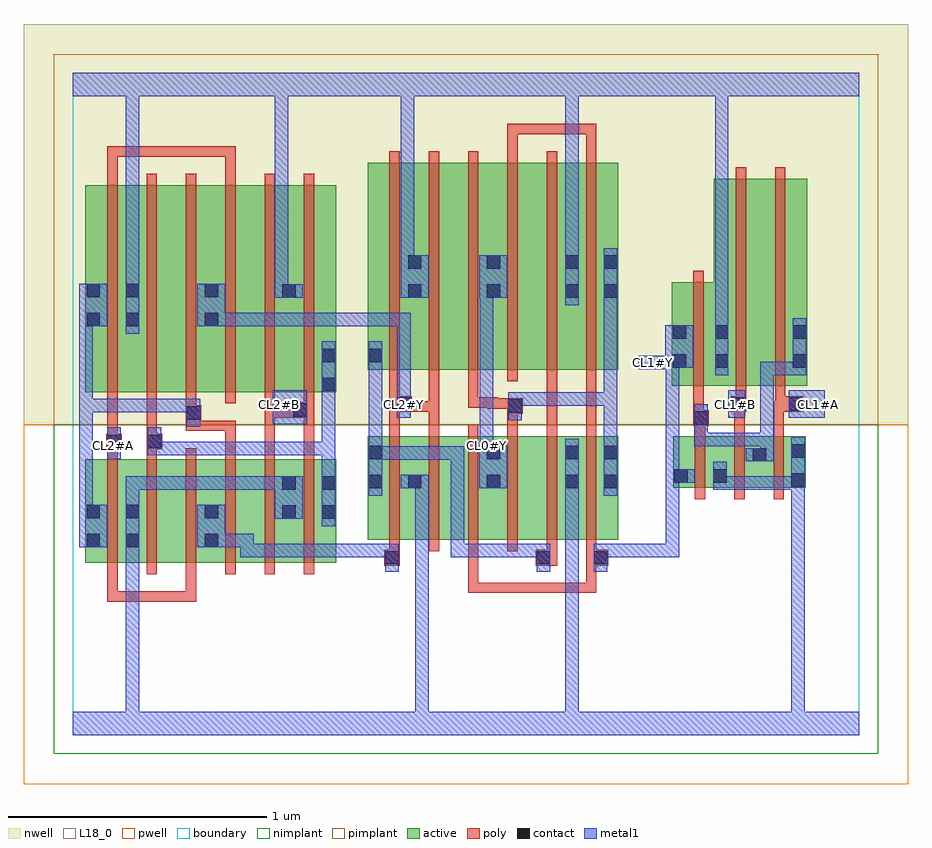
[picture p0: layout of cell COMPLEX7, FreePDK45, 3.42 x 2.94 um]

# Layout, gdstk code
import gdstk
lib = gdstk.Library(unit=1e-6, precision=1e-09)
def R(c, l, rs):  # rectangles x0, y0, x1, y1
    for r in rs: c.add(gdstk.rectangle(r[:2], r[2:], *l))
def A(c, l, x, y, w, h, nx, ny, dx, dy):  # array of equal rectangles
    R(c, l, [(x+i*dx, y+j*dy, x+i*dx+w, y+j*dy+h) for i in range(nx) for j in range(ny)])
active = (1, 0)
pwell = (2, 0)
nwell = (3, 0)
nimplant = (4, 0)
pimplant = (5, 0)
poly = (9, 0)
contact = (10, 0)
metal1 = (11, 0)
L18_0 = (18, 0)
boundary = (235, 0)

complex7 = lib.new_cell('COMPLEX7')
A(complex7, active, 1.292, 0.756, 0.06, 0.4, 3, 1, 0.304, 0)
A(complex7, active, 2.32, 0.956, 0.06, 0.2, 3, 1, 0.152, 0)
R(complex7, active, [(0.05,0.666,0.262,1.066), (0.202,0.666,0.382,1.066), (0.202,0.666,0.262,0.894), (0.382,0.666,0.566,1.066), (0.506,0.666,0.686,1.066), (0.686,0.666,0.866,1.066), (0.806,0.666,1.018,1.066), (0.05,0.722,0.11,1.066), (0.506,0.722,0.566,0.894), (0.806,0.756,0.866,1.004), (0.958,0.756,1.018,1.066), (1.14,0.756,1.2,1.156), (1.14,0.756,1.352,1.156), (1.292,0.756,1.472,1.156), (1.472,0.756,1.656,1.156), (1.596,0.756,1.776,1.156), (1.776,0.756,1.96,1.156), (1.9,0.756,2.108,1.156), (2.048,0.756,2.108,1.156), (2.32,0.956,2.532,1.156), (2.472,0.956,2.684,1.156), (2.624,0.956,2.832,1.156), (2.772,0.956,2.832,1.156), (0.05,1.326,0.262,2.126), (0.05,1.326,0.11,2.044), (0.202,1.326,0.382,2.126), (0.382,1.326,0.566,2.126), (0.506,1.326,0.686,2.126), (0.686,1.326,0.866,2.126), (0.806,1.326,1.018,2.126), (0.958,1.326,1.018,2.044), (2.314,1.35,2.374,1.644), (2.314,1.35,2.538,1.75), (2.478,1.35,2.658,2.15), (2.478,1.35,2.538,1.644), (2.658,1.35,2.838,2.15), (2.778,1.35,2.838,2.044), (1.14,1.412,1.2,2.044), (1.14,1.412,1.352,2.212), (1.292,1.412,1.472,2.212), (1.472,1.412,1.656,2.212), (1.596,1.412,1.776,2.212), (1.596,1.412,1.656,2.044), (1.776,1.412,1.96,2.212), (1.9,1.412,2.108,2.212), (2.048,1.412,2.108,2.044), (0.202,1.576,0.262,2.044), (0.506,1.576,0.566,2.044), (1.9,1.65,1.96,2.044), (0.806,1.686,0.866,2.044), (1.292,1.686,1.352,2.044)])
R(complex7, pwell, [(-0.188,-0.188,3.228,1.2)])
R(complex7, nwell, [(-0.188,1.2,3.228,2.748)])
R(complex7, nimplant, [(-0.072,-0.072,3.112,1.2)])
R(complex7, pimplant, [(-0.072,1.2,3.112,2.632)])
A(complex7, poly, 0.134, 0.622, 0.04, 0.488, 6, 1, 0.152, 0)
A(complex7, poly, 1.224, 0.712, 0.04, 0.488, 6, 1, 0.152, 0)
A(complex7, poly, 2.404, 0.912, 0.04, 0.288, 3, 1, 0.152, 0)
A(complex7, poly, 0.134, 1.282, 0.04, 0.888, 6, 1, 0.152, 0)
A(complex7, poly, 1.224, 1.368, 0.04, 0.888, 6, 1, 0.152, 0)
R(complex7, poly, [(0.134,0.516,0.174,0.556), (0.134,0.516,0.174,0.662), (0.134,0.516,0.28,0.556), (0.24,0.516,0.28,0.556), (0.24,0.516,0.28,0.556), (0.24,0.516,0.28,0.556), (0.24,0.516,0.478,0.556), (0.438,0.516,0.478,0.556), (0.438,0.516,0.478,0.556), (0.438,0.516,0.478,0.556), (0.438,0.516,0.478,0.662), (1.528,0.55,1.568,0.59), (1.528,0.55,1.568,0.59), (1.528,0.55,1.568,0.59), (1.528,0.55,1.724,0.59), (1.528,0.55,1.568,0.752), (1.684,0.55,1.724,0.59), (1.684,0.55,1.724,0.59), (1.684,0.55,1.724,0.59), (1.684,0.55,1.856,0.59), (1.816,0.55,1.856,0.59), (1.816,0.55,1.856,0.59), (1.816,0.55,1.856,0.59), (1.816,0.55,2.024,0.59), (1.984,0.55,2.024,0.59), (1.984,0.55,2.024,0.59), (1.984,0.55,2.024,0.59), (1.984,0.55,2.024,0.696), (1.204,0.656,1.264,0.716), (1.79,0.656,1.872,0.716), (1.984,0.656,2.07,0.716), (1.224,0.676,1.264,0.752), (1.832,0.676,1.872,0.752), (1.984,0.676,2.024,0.752), (0.134,1.07,0.174,1.146), (0.286,1.07,0.326,1.146), (0.59,1.07,0.63,1.216), (0.742,1.07,0.782,1.266), (0.894,1.07,0.934,1.266), (0.13,1.106,0.19,1.166), (0.286,1.106,0.346,1.166), (0.134,1.126,0.174,1.166), (0.134,1.126,0.174,1.166), (0.134,1.126,0.174,1.322), (0.286,1.126,0.326,1.166), (0.286,1.126,0.326,1.166), (0.286,1.126,0.326,1.322), (1.224,1.16,1.264,1.29), (1.376,1.16,1.416,1.29), (1.68,1.16,1.72,1.282), (1.832,1.16,1.872,1.236), (1.984,1.16,2.024,1.372), (2.404,1.16,2.444,1.236), (2.556,1.16,2.596,1.29), (2.708,1.16,2.748,1.29), (0.438,1.176,0.498,1.276), (0.458,1.176,0.63,1.216), (0.59,1.176,0.63,1.216), (0.59,1.176,0.63,1.216), (0.59,1.176,0.63,1.216), (0.59,1.176,0.63,1.216), (0.59,1.176,0.63,1.216), (1.832,1.196,1.872,1.236), (1.832,1.196,1.872,1.236), (1.832,1.196,1.872,1.236), (1.832,1.196,1.872,1.408), (2.398,1.196,2.458,1.256), (2.398,1.216,2.438,1.256), (2.398,1.216,2.438,1.256), (2.398,1.216,2.438,1.346), (0.742,1.226,0.782,1.266), (0.742,1.226,0.782,1.266), (0.742,1.226,0.782,1.266), (0.742,1.226,0.782,1.266), (0.742,1.226,0.782,1.266), (0.742,1.226,0.934,1.266), (0.742,1.226,0.782,1.322), (0.848,1.226,0.934,1.286), (0.894,1.226,0.934,1.266), (0.894,1.226,0.934,1.266), (0.438,1.236,0.478,1.322), (1.68,1.242,1.74,1.302), (0.894,1.246,0.934,1.322), (1.224,1.25,1.264,1.29), (1.224,1.25,1.264,1.29), (1.224,1.25,1.264,1.29), (1.224,1.25,1.264,1.29), (1.224,1.25,1.31,1.31), (1.224,1.25,1.416,1.29), (1.376,1.25,1.416,1.29), (1.376,1.25,1.416,1.29), (1.376,1.25,1.416,1.29), (1.376,1.25,1.416,1.408), (2.542,1.25,2.602,1.31), (2.556,1.25,2.596,1.29), (2.556,1.25,2.596,1.29), (2.708,1.25,2.754,1.29), (2.714,1.25,2.754,1.29), (2.714,1.25,2.822,1.31), (1.604,1.262,1.72,1.302), (1.604,1.262,1.644,1.306), (1.528,1.266,1.568,1.306), (1.528,1.266,1.568,1.306), (1.528,1.266,1.568,1.306), (1.528,1.266,1.644,1.306), (1.528,1.266,1.568,1.408), (1.224,1.27,1.264,1.408), (2.562,1.27,2.602,1.346), (2.714,1.27,2.754,1.346), (2.398,1.306,2.438,1.794), (2.562,1.306,2.602,2.194), (2.714,1.306,2.754,2.194), (1.984,1.332,2.024,1.408), (1.984,1.332,2.024,1.372), (1.984,1.332,2.024,1.372), (1.984,1.332,2.024,1.372), (0.134,2.13,0.174,2.276), (0.59,2.13,0.63,2.276), (1.68,2.216,1.72,2.362), (1.984,2.216,2.024,2.362), (0.134,2.236,0.174,2.276), (0.134,2.236,0.174,2.276), (0.134,2.236,0.174,2.276), (0.134,2.236,0.356,2.276), (0.316,2.236,0.356,2.276), (0.316,2.236,0.462,2.276), (0.422,2.236,0.462,2.276), (0.422,2.236,0.462,2.276), (0.422,2.236,0.462,2.276), (0.422,2.236,0.63,2.276), (0.59,2.236,0.63,2.276), (0.59,2.236,0.63,2.276), (0.59,2.236,0.63,2.276), (1.68,2.322,1.72,2.362), (1.68,2.322,1.83,2.362), (1.79,2.322,1.83,2.362), (1.79,2.322,1.83,2.362), (1.79,2.322,1.83,2.362), (1.79,2.322,2.024,2.362), (1.984,2.322,2.024,2.362), (1.984,2.322,2.024,2.362), (1.984,2.322,2.024,2.362)])
A(complex7, contact, 1.296, 0.954, 0.052, 0.052, 3, 2, 0.304, 0.736)
A(complex7, contact, 1.296, 1.802, 0.052, 0.052, 3, 1, 0.304, 0)
R(complex7, contact, [(1.208,0.66,1.26,0.712), (1.794,0.66,1.846,0.712), (2.014,0.66,2.066,0.712), (0.054,0.726,0.106,0.778), (0.206,0.726,0.258,0.778), (0.51,0.726,0.562,0.778), (0.81,0.836,0.862,0.888), (0.962,0.836,1.014,0.888), (0.054,0.838,0.106,0.89), (0.206,0.838,0.258,0.89), (0.51,0.838,0.562,0.89), (0.81,0.948,0.862,1), (0.962,0.948,1.014,1), (1.144,0.954,1.196,1.006), (2.052,0.954,2.104,1.006), (2.776,0.96,2.828,1.012), (2.324,0.976,2.376,1.028), (2.476,0.976,2.528,1.028), (2.628,1.058,2.68,1.11), (1.144,1.066,1.196,1.118), (1.6,1.066,1.652,1.118), (1.904,1.066,1.956,1.118), (2.052,1.066,2.104,1.118), (2.776,1.072,2.828,1.124), (0.134,1.11,0.186,1.162), (0.29,1.11,0.342,1.162), (2.402,1.2,2.454,1.252), (0.442,1.22,0.494,1.272), (0.852,1.23,0.904,1.282), (1.684,1.246,1.736,1.298), (1.254,1.254,1.306,1.306), (2.546,1.254,2.598,1.306), (2.766,1.254,2.818,1.306), (0.962,1.33,1.014,1.382), (2.318,1.42,2.37,1.472), (2.482,1.42,2.534,1.472), (2.782,1.42,2.834,1.472), (0.962,1.442,1.014,1.494), (1.144,1.442,1.196,1.494), (2.318,1.532,2.37,1.584), (2.482,1.532,2.534,1.584), (2.782,1.532,2.834,1.584), (0.054,1.58,0.106,1.632), (0.206,1.58,0.258,1.632), (0.51,1.58,0.562,1.632), (0.81,1.69,0.862,1.742), (2.052,1.69,2.104,1.742), (0.054,1.692,0.106,1.744), (0.206,1.692,0.258,1.744), (0.51,1.692,0.562,1.744), (2.052,1.802,2.104,1.854)])
R(complex7, metal1, [(0,0,3.04,0.092), (0.206,0.04,0.258,0.092), (0.206,0.04,0.258,0.092), (0.206,0.04,0.258,0.092), (0.206,0.04,0.258,0.092), (0.206,0.04,0.258,0.092), (0.206,0.04,0.258,0.092), (0.206,0.04,0.258,0.092), (0.206,0.04,0.258,0.092), (0.206,0.04,0.258,0.75), (1.324,0.04,1.376,0.092), (1.324,0.04,1.376,0.092), (1.324,0.04,1.376,0.092), (1.324,0.04,1.376,0.092), (1.324,0.04,1.376,0.092), (1.324,0.04,1.376,0.092), (1.324,0.04,1.376,0.092), (1.324,0.04,1.376,0.092), (1.324,0.04,1.376,0.092), (1.324,0.04,1.376,0.092), (1.324,0.04,1.376,1.006), (1.904,0.04,1.956,0.092), (1.904,0.04,1.956,0.092), (1.904,0.04,1.956,0.092), (1.904,0.04,1.956,0.092), (1.904,0.04,1.956,0.092), (1.904,0.04,1.956,0.092), (1.904,0.04,1.956,0.978), (2.776,0.04,2.828,0.984), (1.208,0.632,1.26,0.74), (1.794,0.632,1.846,0.74), (2.014,0.632,2.066,0.74), (0.648,0.688,0.7,0.74), (0.648,0.688,0.7,0.74), (0.648,0.688,0.7,0.74), (0.648,0.688,0.826,0.74), (0.648,0.688,0.7,0.778), (0.774,0.688,0.826,0.74), (0.774,0.688,0.826,0.74), (0.774,0.688,0.826,0.74), (0.774,0.688,1.15,0.74), (1.098,0.688,1.15,0.74), (1.098,0.688,1.15,0.74), (1.098,0.688,1.15,0.74), (1.098,0.688,1.26,0.74), (1.462,0.688,1.514,0.74), (1.462,0.688,1.626,0.74), (1.462,0.688,1.514,1.116), (1.574,0.688,1.626,0.74), (1.574,0.688,1.626,0.74), (1.574,0.688,1.626,0.74), (1.574,0.688,1.736,0.74), (1.684,0.688,1.736,0.74), (1.684,0.688,1.736,0.74), (1.684,0.688,1.736,0.74), (1.684,0.688,1.736,0.74), (1.684,0.688,1.736,0.74), (1.684,0.688,1.736,0.74), (1.684,0.688,1.736,0.74), (1.684,0.688,1.736,0.74), (1.684,0.688,1.736,0.74), (1.684,0.688,1.846,0.74), (2.014,0.688,2.344,0.74), (2.292,0.688,2.344,0.74), (2.292,0.688,2.344,0.74), (2.292,0.688,2.344,0.74), (2.292,0.688,2.344,0.74), (2.292,0.688,2.344,0.74), (2.292,0.688,2.344,0.74), (2.292,0.688,2.344,0.74), (2.292,0.688,2.344,0.74), (2.292,0.688,2.344,0.74), (2.292,0.688,2.344,1.028), (0.206,0.698,0.258,0.75), (0.206,0.698,0.258,0.75), (0.206,0.698,0.258,0.75), (0.206,0.698,0.258,0.75), (0.206,0.698,0.258,0.918), (0.026,0.726,0.134,0.89), (0.482,0.726,0.59,0.89), (0.538,0.726,0.59,0.778), (0.538,0.726,0.59,0.778), (0.538,0.726,0.7,0.778), (0.648,0.726,0.7,0.778), (0.962,0.808,1.014,1.028), (0.782,0.836,0.89,1), (0.026,0.838,0.078,1.3), (0.206,0.866,0.258,1), (1.144,0.926,1.196,1.146), (1.904,0.926,1.956,0.978), (1.904,0.926,1.956,0.978), (1.904,0.926,1.956,0.978), (1.904,0.926,1.956,0.978), (1.904,0.926,1.956,0.978), (1.904,0.926,1.956,0.978), (1.904,0.926,1.956,1.146), (2.052,0.926,2.104,1.146), (2.776,0.932,2.828,0.984), (2.776,0.932,2.828,0.984), (2.776,0.932,2.828,0.984), (2.776,0.932,2.828,0.984), (2.776,0.932,2.828,0.984), (2.776,0.932,2.828,0.984), (2.776,0.932,2.828,0.984), (2.776,0.932,2.828,0.984), (2.776,0.932,2.828,0.984), (2.776,0.932,2.828,0.984), (2.776,0.932,2.828,0.984), (2.776,0.932,2.828,0.984), (2.776,0.932,2.828,0.984), (2.776,0.932,2.828,0.984), (2.776,0.932,2.828,0.984), (2.776,0.932,2.828,0.984), (2.776,0.932,2.828,1.152), (0.206,0.948,0.258,1), (0.206,0.948,0.258,1), (0.206,0.948,0.258,1), (0.206,0.948,0.258,1), (0.206,0.948,0.258,1), (0.206,0.948,0.258,1), (0.206,0.948,0.258,1), (0.206,0.948,0.424,1), (0.372,0.948,0.424,1), (0.372,0.948,0.452,1), (0.4,0.948,0.452,1), (0.4,0.948,0.534,1), (0.482,0.948,0.534,1), (0.482,0.948,0.59,1), (0.538,0.948,0.59,1), (0.538,0.948,0.716,1), (0.664,0.948,0.716,1), (0.664,0.948,0.716,1), (0.664,0.948,0.716,1), (0.664,0.948,0.834,1), (2.476,0.948,2.708,1), (2.476,0.948,2.528,1.056), (2.656,0.948,2.708,1), (2.656,0.948,2.708,1), (2.656,0.948,2.708,1), (2.656,0.948,2.828,1), (2.776,0.948,2.828,1), (2.776,0.948,2.828,1), (1.268,0.954,1.376,1.006), (1.324,0.954,1.376,1.006), (1.324,0.954,1.376,1.006), (1.572,0.954,1.68,1.118), (0.962,0.976,1.014,1.134), (2.292,0.976,2.344,1.466), (2.292,0.976,2.404,1.028), (2.6,1.058,2.708,1.11), (2.656,1.058,2.708,1.168), (1.144,1.064,1.334,1.116), (1.282,1.064,1.334,1.116), (1.282,1.064,1.334,1.116), (1.282,1.064,1.334,1.116), (1.282,1.064,1.514,1.116), (1.462,1.064,1.514,1.116), (1.462,1.064,1.514,1.116), (1.462,1.064,1.514,1.116), (0.134,1.066,0.186,1.19), (1.574,1.066,1.626,1.118), (1.574,1.066,1.626,1.174), (0.29,1.082,0.342,1.19), (0.29,1.082,0.368,1.134), (0.316,1.082,0.368,1.134), (0.316,1.082,0.48,1.134), (0.428,1.082,0.48,1.134), (0.428,1.082,0.59,1.134), (0.538,1.082,0.59,1.134), (0.538,1.082,0.59,1.134), (0.538,1.082,0.59,1.134), (0.538,1.082,0.716,1.134), (0.664,1.082,0.716,1.134), (0.664,1.082,0.716,1.134), (0.664,1.082,0.716,1.134), (0.664,1.082,0.904,1.134), (0.852,1.082,0.904,1.134), (0.852,1.082,1.014,1.134), (0.962,1.082,1.014,1.134), (0.962,1.082,1.014,1.134), (0.962,1.082,1.014,1.134), (0.962,1.082,1.014,1.134), (0.962,1.082,1.014,1.134), (0.962,1.082,1.014,1.354), (1.144,1.094,1.196,1.466), (2.052,1.094,2.104,1.326), (2.402,1.116,2.708,1.168), (2.402,1.116,2.454,1.224), (2.656,1.116,2.708,1.168), (2.656,1.116,2.708,1.168), (2.656,1.116,2.708,1.168), (2.656,1.116,2.708,1.444), (1.574,1.122,1.626,1.742), (2.402,1.172,2.454,1.224), (2.402,1.172,2.454,1.28), (0.442,1.192,0.494,1.3), (0.774,1.202,0.904,1.334), (1.684,1.218,1.736,1.326), (1.254,1.226,1.306,1.334), (2.534,1.226,2.598,1.334), (2.766,1.226,2.906,1.334), (0.026,1.248,0.078,1.3), (0.026,1.248,0.078,1.3), (0.026,1.248,0.078,1.3), (0.026,1.248,0.078,1.3), (0.026,1.248,0.078,1.3), (0.026,1.248,0.244,1.3), (0.026,1.248,0.078,1.632), (0.192,1.248,0.244,1.3), (0.192,1.248,0.244,1.3), (0.192,1.248,0.244,1.3), (0.192,1.248,0.424,1.3), (0.372,1.248,0.424,1.3), (0.372,1.248,0.494,1.3), (1.684,1.274,1.736,1.326), (1.684,1.274,1.736,1.326), (1.684,1.274,1.946,1.326), (1.894,1.274,1.946,1.326), (1.894,1.274,1.946,1.326), (1.894,1.274,1.946,1.326), (1.894,1.274,2.104,1.326), (2.052,1.274,2.104,1.326), (2.052,1.274,2.104,1.326), (2.052,1.274,2.104,1.326), (2.052,1.274,2.104,1.326), (2.052,1.274,2.104,1.326), (2.052,1.274,2.104,1.714), (1.254,1.282,1.306,1.334), (1.254,1.282,1.306,1.334), (1.254,1.282,1.306,1.334), (1.254,1.282,1.306,1.334), (1.254,1.282,1.306,1.632), (0.962,1.302,1.014,1.522), (2.482,1.392,2.534,1.612), (2.656,1.392,2.708,1.444), (2.656,1.392,2.708,1.444), (2.656,1.392,2.708,1.444), (2.656,1.392,2.834,1.444), (2.782,1.392,2.834,1.444), (2.782,1.392,2.834,1.444), (2.782,1.392,2.834,1.612), (1.144,1.414,1.196,1.466), (1.144,1.414,1.196,1.466), (1.144,1.414,1.196,1.466), (1.144,1.414,1.196,1.466), (1.144,1.414,1.196,1.522), (2.186,1.414,2.344,1.466), (2.292,1.414,2.344,1.466), (2.292,1.414,2.344,1.466), (2.292,1.414,2.344,1.472), (2.29,1.42,2.398,1.584), (0.206,1.552,0.258,1.772), (2.482,1.56,2.534,1.612), (2.482,1.56,2.534,1.612), (2.482,1.56,2.534,1.612), (2.482,1.56,2.534,1.612), (2.482,1.56,2.534,1.612), (2.482,1.56,2.534,1.612), (2.482,1.56,2.534,2.52), (0.026,1.58,0.134,1.744), (0.482,1.58,0.59,1.744), (0.538,1.58,0.59,1.632), (0.538,1.58,0.59,1.632), (0.538,1.58,0.716,1.632), (0.664,1.58,0.716,1.632), (0.664,1.58,0.716,1.632), (0.664,1.58,0.716,1.632), (0.664,1.58,0.904,1.632), (0.852,1.58,0.904,1.632), (0.852,1.58,0.904,1.632), (0.852,1.58,0.904,1.632), (0.852,1.58,0.904,1.632), (0.852,1.58,0.904,1.632), (0.852,1.58,1.124,1.632), (1.072,1.58,1.124,1.632), (1.072,1.58,1.124,1.632), (1.072,1.58,1.124,1.632), (1.072,1.58,1.306,1.632), (1.254,1.58,1.306,1.632), (1.254,1.58,1.306,1.632), (1.254,1.58,1.306,1.632), (1.904,1.662,1.956,1.882), (2.052,1.662,2.104,1.882), (0.782,1.69,0.834,1.742), (0.782,1.69,0.834,1.742), (0.782,1.69,0.834,1.742), (0.782,1.69,0.834,1.742), (0.782,1.69,0.834,1.742), (0.782,1.69,0.834,1.742), (0.782,1.69,0.89,1.742), (0.782,1.69,0.834,2.52), (1.268,1.69,1.376,1.854), (1.572,1.69,1.68,1.854), (1.574,1.69,1.626,1.742), (1.574,1.69,1.626,1.742), (0.206,1.72,0.258,1.772), (0.206,1.72,0.258,1.772), (0.206,1.72,0.258,1.772), (0.206,1.72,0.258,1.772), (0.206,1.72,0.258,1.772), (0.206,1.72,0.258,1.772), (0.206,1.72,0.258,2.52), (1.268,1.802,1.32,2.52), (1.904,1.83,1.956,1.882), (1.904,1.83,1.956,1.882), (1.904,1.83,1.956,1.882), (1.904,1.83,1.956,1.882), (1.904,1.83,1.956,1.882), (1.904,1.83,1.956,1.882), (1.904,1.83,1.956,2.52), (0,2.468,3.04,2.56), (0.206,2.468,0.258,2.52), (0.206,2.468,0.258,2.52), (0.782,2.468,0.834,2.52), (0.782,2.468,0.834,2.52), (1.268,2.468,1.32,2.52), (1.268,2.468,1.32,2.52), (1.268,2.468,1.32,2.52), (1.268,2.468,1.32,2.52), (1.268,2.468,1.32,2.52), (1.268,2.468,1.32,2.52), (1.268,2.468,1.32,2.52), (1.268,2.468,1.32,2.52), (1.904,2.468,1.956,2.52), (1.904,2.468,1.956,2.52), (2.482,2.468,2.534,2.52), (2.482,2.468,2.534,2.52)])
R(complex7, L18_0, [(0,0,3.04,0.092), (0.206,0.04,0.258,0.092), (0.206,0.04,0.258,0.092), (0.206,0.04,0.258,0.092), (0.206,0.04,0.258,0.092), (0.206,0.04,0.258,0.092), (0.206,0.04,0.258,0.092), (0.206,0.04,0.258,0.092), (0.206,0.04,0.258,0.092), (0.206,0.04,0.258,0.75), (1.324,0.04,1.376,0.092), (1.324,0.04,1.376,0.092), (1.324,0.04,1.376,0.092), (1.324,0.04,1.376,0.092), (1.324,0.04,1.376,0.092), (1.324,0.04,1.376,0.092), (1.324,0.04,1.376,0.092), (1.324,0.04,1.376,0.092), (1.324,0.04,1.376,0.092), (1.324,0.04,1.376,0.092), (1.324,0.04,1.376,1.006), (1.904,0.04,1.956,0.092), (1.904,0.04,1.956,0.092), (1.904,0.04,1.956,0.092), (1.904,0.04,1.956,0.092), (1.904,0.04,1.956,0.092), (1.904,0.04,1.956,0.092), (1.904,0.04,1.956,0.978), (2.776,0.04,2.828,0.984), (1.208,0.632,1.26,0.74), (2.014,0.632,2.066,0.74), (0.648,0.688,0.7,0.74), (0.648,0.688,0.7,0.74), (0.648,0.688,0.7,0.74), (0.648,0.688,0.7,0.778), (0.648,0.688,0.826,0.74), (0.774,0.688,0.826,0.74), (0.774,0.688,0.826,0.74), (0.774,0.688,0.826,0.74), (0.774,0.688,1.15,0.74), (1.098,0.688,1.15,0.74), (1.098,0.688,1.15,0.74), (1.098,0.688,1.15,0.74), (1.098,0.688,1.26,0.74), (2.014,0.688,2.344,0.74), (2.292,0.688,2.344,0.74), (2.292,0.688,2.344,0.74), (2.292,0.688,2.344,0.74), (2.292,0.688,2.344,0.74), (2.292,0.688,2.344,0.74), (2.292,0.688,2.344,0.74), (2.292,0.688,2.344,0.74), (2.292,0.688,2.344,0.74), (2.292,0.688,2.344,0.74), (2.292,0.688,2.344,1.028), (0.206,0.698,0.258,0.75), (0.206,0.698,0.258,0.75), (0.206,0.698,0.258,0.75), (0.206,0.698,0.258,0.75), (0.206,0.698,0.258,0.918), (0.482,0.726,0.59,0.89), (0.538,0.726,0.59,0.778), (0.538,0.726,0.59,0.778), (0.538,0.726,0.7,0.778), (0.648,0.726,0.7,0.778), (0.782,0.836,0.89,1), (0.206,0.866,0.258,1), (1.904,0.926,1.956,0.978), (1.904,0.926,1.956,0.978), (1.904,0.926,1.956,0.978), (1.904,0.926,1.956,0.978), (1.904,0.926,1.956,0.978), (1.904,0.926,1.956,0.978), (1.904,0.926,1.956,1.146), (2.776,0.932,2.828,0.984), (2.776,0.932,2.828,0.984), (2.776,0.932,2.828,0.984), (2.776,0.932,2.828,0.984), (2.776,0.932,2.828,0.984), (2.776,0.932,2.828,0.984), (2.776,0.932,2.828,0.984), (2.776,0.932,2.828,0.984), (2.776,0.932,2.828,0.984), (2.776,0.932,2.828,0.984), (2.776,0.932,2.828,0.984), (2.776,0.932,2.828,0.984), (2.776,0.932,2.828,0.984), (2.776,0.932,2.828,0.984), (2.776,0.932,2.828,0.984), (2.776,0.932,2.828,0.984), (2.776,0.932,2.828,1.152), (0.206,0.948,0.258,1), (0.206,0.948,0.258,1), (0.206,0.948,0.258,1), (0.206,0.948,0.258,1), (0.206,0.948,0.258,1), (0.206,0.948,0.258,1), (0.206,0.948,0.258,1), (0.206,0.948,0.424,1), (0.372,0.948,0.424,1), (0.372,0.948,0.452,1), (0.4,0.948,0.452,1), (0.4,0.948,0.534,1), (0.482,0.948,0.534,1), (0.482,0.948,0.59,1), (0.538,0.948,0.59,1), (0.538,0.948,0.716,1), (0.664,0.948,0.716,1), (0.664,0.948,0.716,1), (0.664,0.948,0.716,1), (0.664,0.948,0.834,1), (2.476,0.948,2.528,1.056), (2.476,0.948,2.708,1), (2.656,0.948,2.708,1), (2.656,0.948,2.708,1), (2.656,0.948,2.708,1), (2.656,0.948,2.828,1), (2.776,0.948,2.828,1), (2.776,0.948,2.828,1), (1.268,0.954,1.376,1.006), (1.324,0.954,1.376,1.006), (1.324,0.954,1.376,1.006), (1.572,0.954,1.68,1.118), (2.292,0.976,2.404,1.028), (2.292,0.976,2.344,1.466), (0.134,1.066,0.186,1.19), (1.574,1.066,1.626,1.118), (1.574,1.066,1.626,1.174), (0.134,1.094,0.186,1.146), (1.574,1.094,1.626,1.146), (1.574,1.122,1.626,1.742), (0.774,1.202,0.904,1.334), (1.254,1.226,1.306,1.334), (2.534,1.226,2.598,1.334), (2.766,1.226,2.906,1.334), (0.774,1.254,0.826,1.306), (1.254,1.254,1.306,1.306), (2.534,1.254,2.586,1.306), (2.854,1.254,2.906,1.306), (1.254,1.282,1.306,1.334), (1.254,1.282,1.306,1.334), (1.254,1.282,1.306,1.334), (1.254,1.282,1.306,1.334), (1.254,1.282,1.306,1.632), (2.482,1.392,2.534,1.612), (2.186,1.414,2.344,1.466), (2.214,1.414,2.266,1.466), (2.292,1.414,2.344,1.466), (2.292,1.414,2.344,1.466), (2.292,1.414,2.344,1.472), (2.29,1.42,2.398,1.584), (0.206,1.552,0.258,1.772), (2.482,1.56,2.534,1.612), (2.482,1.56,2.534,1.612), (2.482,1.56,2.534,1.612), (2.482,1.56,2.534,1.612), (2.482,1.56,2.534,1.612), (2.482,1.56,2.534,1.612), (2.482,1.56,2.534,2.52), (0.482,1.58,0.59,1.744), (0.538,1.58,0.59,1.632), (0.538,1.58,0.59,1.632), (0.538,1.58,0.716,1.632), (0.664,1.58,0.716,1.632), (0.664,1.58,0.716,1.632), (0.664,1.58,0.716,1.632), (0.664,1.58,0.904,1.632), (0.852,1.58,0.904,1.632), (0.852,1.58,0.904,1.632), (0.852,1.58,0.904,1.632), (0.852,1.58,0.904,1.632), (0.852,1.58,0.904,1.632), (0.852,1.58,1.124,1.632), (1.072,1.58,1.124,1.632), (1.072,1.58,1.124,1.632), (1.072,1.58,1.124,1.632), (1.072,1.58,1.306,1.632), (1.254,1.58,1.306,1.632), (1.254,1.58,1.306,1.632), (1.254,1.58,1.306,1.632), (1.904,1.662,1.956,1.882), (0.782,1.69,0.834,1.742), (0.782,1.69,0.834,1.742), (0.782,1.69,0.834,1.742), (0.782,1.69,0.834,1.742), (0.782,1.69,0.834,1.742), (0.782,1.69,0.834,1.742), (0.782,1.69,0.89,1.742), (0.782,1.69,0.834,2.52), (1.268,1.69,1.376,1.854), (1.572,1.69,1.68,1.854), (1.574,1.69,1.626,1.742), (1.574,1.69,1.626,1.742), (0.206,1.72,0.258,1.772), (0.206,1.72,0.258,1.772), (0.206,1.72,0.258,1.772), (0.206,1.72,0.258,1.772), (0.206,1.72,0.258,1.772), (0.206,1.72,0.258,1.772), (0.206,1.72,0.258,2.52), (1.268,1.802,1.32,2.52), (1.904,1.83,1.956,1.882), (1.904,1.83,1.956,1.882), (1.904,1.83,1.956,1.882), (1.904,1.83,1.956,1.882), (1.904,1.83,1.956,1.882), (1.904,1.83,1.956,1.882), (1.904,1.83,1.956,2.52), (0,2.468,3.04,2.56), (0.206,2.468,0.258,2.52), (0.206,2.468,0.258,2.52), (0.782,2.468,0.834,2.52), (0.782,2.468,0.834,2.52), (1.268,2.468,1.32,2.52), (1.268,2.468,1.32,2.52), (1.268,2.468,1.32,2.52), (1.268,2.468,1.32,2.52), (1.268,2.468,1.32,2.52), (1.268,2.468,1.32,2.52), (1.268,2.468,1.32,2.52), (1.268,2.468,1.32,2.52), (1.904,2.468,1.956,2.52), (1.904,2.468,1.956,2.52), (2.482,2.468,2.534,2.52), (2.482,2.468,2.534,2.52)])
R(complex7, boundary, [(0,0,3.04,2.56)])
complex7.add(gdstk.Label('CL0#Y', (1.6,1.12), layer=11, texttype=0))
complex7.add(gdstk.Label('CL1#A', (2.88,1.28), layer=11, texttype=0))
complex7.add(gdstk.Label('CL1#B', (2.56,1.28), layer=11, texttype=0))
complex7.add(gdstk.Label('CL1#Y', (2.24,1.44), layer=11, texttype=0))
complex7.add(gdstk.Label('CL2#A', (0.16,1.12), layer=11, texttype=0))
complex7.add(gdstk.Label('CL2#B', (0.8,1.28), layer=11, texttype=0))
complex7.add(gdstk.Label('CL2#Y', (1.28,1.28), layer=11, texttype=0))

lib.write_gds('COMPLEX7.gds')
